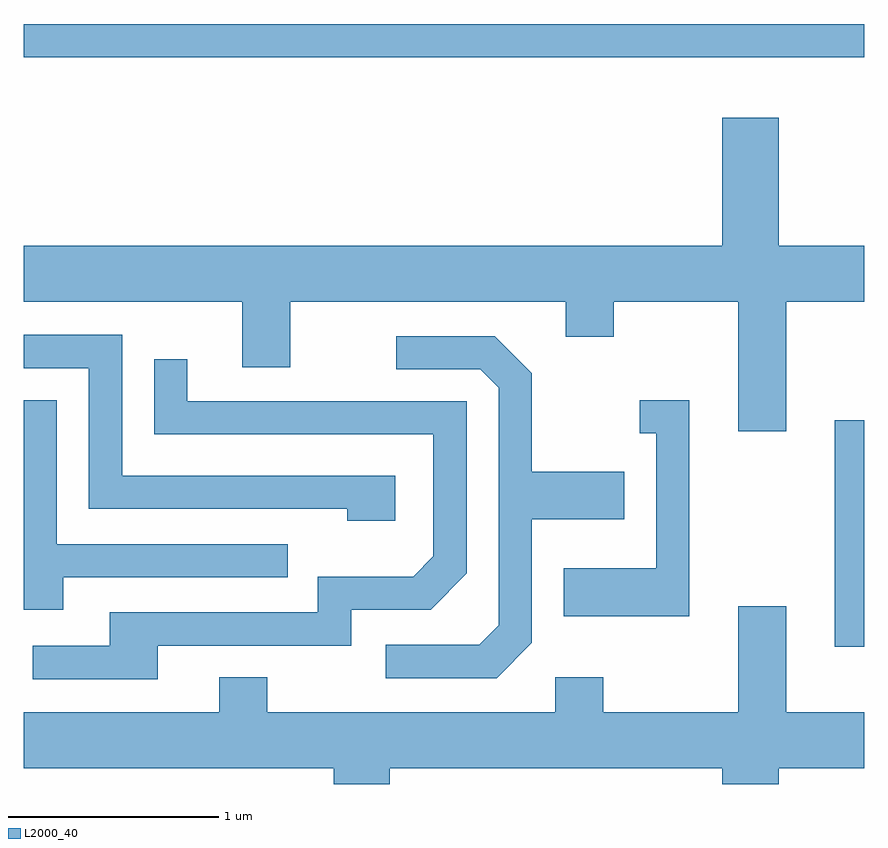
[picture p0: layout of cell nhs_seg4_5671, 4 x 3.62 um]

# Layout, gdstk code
import gdstk
lib = gdstk.Library(unit=1e-6, precision=1e-09)
def R(c, l, rs):  # rectangles x0, y0, x1, y1
    for r in rs: c.add(gdstk.rectangle(r[:2], r[2:], *l))
def P(c, l, *ps):  # polygons
    for p in ps: c.add(gdstk.Polygon(p, *l))
L2000_40 = (2000, 40)

nhs_seg4_5671 = lib.new_cell('nhs_seg4_5671')
R(nhs_seg4_5671, L2000_40, [(355.471,1308.636,355.611,1309.714), (351.611,1311.441,355.611,1311.599)])
P(nhs_seg4_5671, L2000_40, [(351.611,1310.276),(352.651,1310.276),(352.651,1309.966),(352.879,1309.966),(352.879,1310.276),(354.191,1310.276),(354.191,1310.111),(354.419,1310.111),(354.419,1310.276),(355.011,1310.276),(355.011,1309.661),(355.239,1309.661),(355.239,1310.276),(355.611,1310.276),(355.611,1310.544),(355.204,1310.544),(355.204,1311.154),(354.936,1311.154),(354.936,1310.544),(351.611,1310.544)],
  [(353.379,1309.449),(352.079,1309.449),(352.079,1310.119),(351.611,1310.119),(351.611,1309.961),(351.921,1309.961),(351.921,1309.291),(353.151,1309.291),(353.151,1309.236),(353.379,1309.236)],
  [(354.029,1308.654),(354.029,1309.241),(354.469,1309.241),(354.469,1309.469),(354.029,1309.469),(354.029,1309.937),(353.852,1310.114),(353.383,1310.114),(353.383,1309.956),(353.784,1309.956),(353.871,1309.869),(353.871,1308.737),(353.779,1308.644),(353.333,1308.644),(353.333,1308.486),(353.862,1308.486)],
  [(352.249,1308.641),(353.169,1308.641),(353.169,1308.811),(353.547,1308.811),(353.719,1308.984),(353.719,1309.804),(352.389,1309.804),(352.389,1310.003),(352.231,1310.003),(352.231,1309.646),(353.561,1309.646),(353.561,1309.067),(353.464,1308.969),(353.011,1308.969),(353.011,1308.799),(352.021,1308.799),(352.021,1308.639),(351.653,1308.639),(351.653,1308.481),(352.249,1308.481)],
  [(351.799,1308.966),(352.868,1308.966),(352.868,1309.124),(351.769,1309.124),(351.769,1309.809),(351.611,1309.809),(351.611,1308.811),(351.799,1308.811)],
  [(354.779,1309.809),(354.543,1309.809),(354.543,1309.651),(354.621,1309.651),(354.621,1309.009),(354.181,1309.009),(354.181,1308.781),(354.779,1308.781)],
  [(353.354,1308.056),(354.936,1308.056),(354.936,1307.982),(355.204,1307.982),(355.204,1308.056),(355.611,1308.056),(355.611,1308.324),(355.239,1308.324),(355.239,1308.829),(355.011,1308.829),(355.011,1308.324),(354.369,1308.324),(354.369,1308.489),(354.141,1308.489),(354.141,1308.324),(352.769,1308.324),(352.769,1308.489),(352.541,1308.489),(352.541,1308.324),(351.611,1308.324),(351.611,1308.056),(353.086,1308.056),(353.086,1307.982),(353.354,1307.982)])

lib.write_gds('nhs_seg4_5671.gds')
